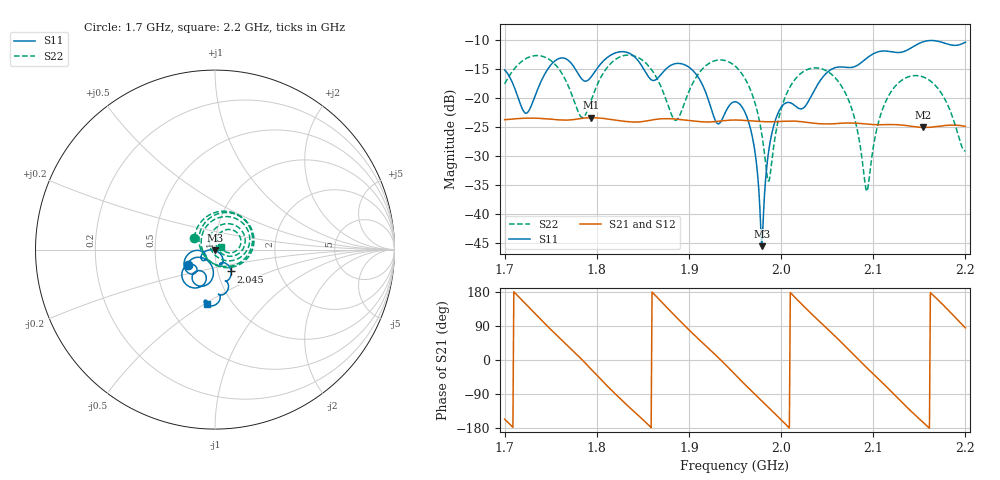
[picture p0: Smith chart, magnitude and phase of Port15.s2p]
# Hz S RI R 50
! CMT, CMT808U, 21440046, 21.4.3/4
! Date: 12/11/2025 6:05:22 PM
! Data: Format (Calibration Info)
! Freq	S11:Re/Im(F2)	S41:Re/Im(F2)	S14:Re/Im(F2)	S44:Re/Im(F2)
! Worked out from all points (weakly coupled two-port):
!   501 points, 1.7 GHz to 2.2 GHz, reference 50 ohm
!   highest |S21| = -23.37 dB at 1.794 GHz (marker M1); lowest = -25.1 dB at 2.154 GHz (marker M2)
!   lowest |S11| = -45.6 dB at 1.979 GHz (marker M3), VSWR 1.01, Z = 49.8 - j0.485 ohm
!   |S11| at or under -10 dB: start of sweep to end of sweep
!   |S22| runs from -36.1 to -12.6 dB; largest |S21 - S12| = 0.00067
!   S11 on the Smith chart (normalised r, x): 1.7 GHz: 0.73, -0.13; 2.045 GHz: 1.16, -0.29; 2.2 GHz: 0.77, -0.51
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1.7e9  -0.1523 -0.0871  -0.0595 -0.0265  -0.0592 -0.0268  -0.1146 0.0674
1.723e9  -0.0457 -0.0583  -0.0567 0.0359  -0.0568 0.0355  0.0487 0.2141
1.744e9  -0.0159 -0.163  -0.00622 0.0661  -0.00669 0.0659  0.204 0.0965
1.784e9  -0.0873 -0.1168  0.0669 0.00108  0.0667 0.00154  -0.0468 -0.0495
1.794e9  -0.051 -0.1442  0.0617 -0.0282  0.0618 -0.0277  -0.0885 0.0382
1.828e9  -0.1583 -0.1965  -0.0196 -0.0602  -0.019 -0.0603  0.1353 0.1882
1.867e9  -0.1001 -0.1134  -0.0627 0.0205  -0.0628 0.02  0.1005 -0.0968
1.886e9  -0.1547 -0.1255  -0.0266 0.0603  -0.027 0.06  -0.0553 -0.0329
1.931e9  -0.0547 -0.0252  0.0623 0.00915  0.0621 0.00968  0.1478 0.1536
1.95e9  -0.0741 -0.0562  0.051 -0.0399  0.0512 -0.0394  0.1885 0.0204
1.968e9  -0.0492 -0.00701  0.0088 -0.0629  0.00929 -0.0628  0.0929 -0.0615
1.979e9  -0.00198 -0.00486  -0.0196 -0.0597  -0.019 -0.0597  0.0185 -0.0456
1.987e9  0.0286 -0.0233  -0.0376 -0.0499  -0.0371 -0.0502  -0.0183 -0.00621
1.995e9  0.0443 -0.0526  -0.0517 -0.0353  -0.0513 -0.0357  -0.0307 0.0445
2.01e9  0.0291 -0.0864  -0.0632 0.00228  -0.0632 0.00175  0.0118 0.1258
2.034e9  0.0701 -0.0835  -0.03 0.0531  -0.0304 0.0528  0.1413 0.1144
2.045e9  0.0898 -0.1215  -0.00431 0.0598  -0.00486 0.0597  0.1674 0.0615
2.075e9  0.0577 -0.1746  0.056 0.0241  0.0559 0.0245  0.0803 -0.0372
2.093e9  0.0752 -0.2087  0.0559 -0.0208  0.056 -0.0205  0.0141 0.00681
2.117e9  0.0254 -0.2524  0.0134 -0.0576  0.014 -0.0574  0.0365 0.0994
2.154e9  0.00296 -0.3069  -0.0537 -0.0151  -0.0537 -0.0155  0.1445 0.0491
2.2e9  -0.0419 -0.3021  0.00531 0.0568  0.00485 0.0568  0.0308 0.017
